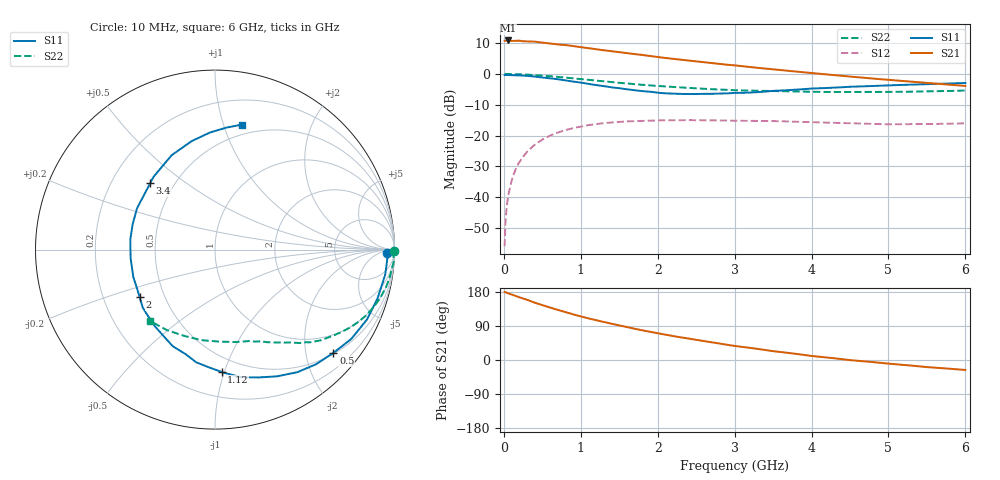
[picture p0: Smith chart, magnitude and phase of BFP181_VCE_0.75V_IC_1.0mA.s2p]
! Infineon Technologies  Discrete & RF Semiconductors
! BFP181
! VCE = 0.75V,  IC =  1.0 mA
! Common Emitter S-Parameters:  Jan 2016
# GHz  S  MA  R  50
!  f  S11  S21  S12  S22
! GHz  MAG  ANG  MAG  ANG  MAG  ANG  MAG  ANG
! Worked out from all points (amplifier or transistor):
!   210 points, 10 MHz to 6 GHz, reference 50 ohm
!   highest |S21| = 10.9 dB at 50 MHz (marker M1)
!   |S21| within 3 dB of that: start of sweep to 1.241 GHz
!   unconditionally stable (mu >= 1): 2.825 GHz to end of sweep
!   at 185 MHz: K = 0.08, MSG = 20.1 dB, |S12| = -29.4 dB
!   at 1.52 GHz: K = 0.58, MSG = 11.3 dB, |S12| = -15.5 dB
!   at 6 GHz: K = 1.43, MAG = 2.2 dB, |S12| = -16.0 dB
!   S11 on the Smith chart (normalised r, x): 10 MHz: 41, -18; 500 MHz: 0.52, -2.58; 1.12 GHz: 0.38, -0.98; 2 GHz: 0.36, -0.25; 3.4 GHz: 0.37, +0.37; 6 GHz: 0.41, +1.16
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0.01  0.9599 -1.0  3.45 179.6  0.0016 88.7  0.9984 -0.4
0.02  0.9628 -2.0  3.449 179.2  0.0037 90.0  0.998 -0.8
0.03  0.962 -2.6  3.462 178.3  0.0055 89.7  0.9969 -1.2
0.05  0.9607 -3.9  3.492 176.5  0.0092 89.5  0.9948 -2.0
0.115  0.9552 -9.7  3.433 171.8  0.021 82.1  0.9951 -4.7
0.2  0.9457 -16.6  3.461 165.6  0.0367 79.0  0.9866 -8.4
0.4  0.908 -33.2  3.344 151.3  0.0704 68.3  0.9595 -16.3
0.5  0.8755 -41.1  3.224 144.6  0.0857 62.9  0.9395 -20.0
0.6  0.8511 -48.7  3.138 138.4  0.0995 58.2  0.9184 -23.5
0.8  0.7862 -63.9  2.949 126.1  0.1225 49.2  0.8712 -29.7
1.02  0.7177 -79.8  2.698 114.0  0.1413 40.3  0.8165 -35.8
1.12  0.6824 -86.9  2.603 108.8  0.1485 36.7  0.7944 -38.3
1.54  0.5767 -116.1  2.222 89.3  0.1677 24.4  0.7109 -46.8
1.8  0.5262 -134.9  2.031 78.2  0.173 18.8  0.6655 -51.0
2  0.4954 -147.9  1.88 70.6  0.1761 14.6  0.638 -54.1
2.02  0.4926 -149.2  1.866 69.9  0.1762 14.2  0.6355 -54.4
2.46  0.471 -177.9  1.615 54.6  0.1775 6.7  0.5866 -61.3
3.1  0.4932 147.6  1.333 34.7  0.1734 -1.2  0.5398 -71.1
3.4  0.517 134.3  1.22 26.4  0.172 -3.5  0.5298 -76.0
4.1  0.5842 112.1  1.007 8.7  0.1635 -8.0  0.5109 -89.8
5.1  0.6582 90.8  0.782 -11.3  0.1522 -9.3  0.5113 -112.0
6  0.7129 77.7  0.638 -26.3  0.1576 -7.4  0.5377 -132.3
